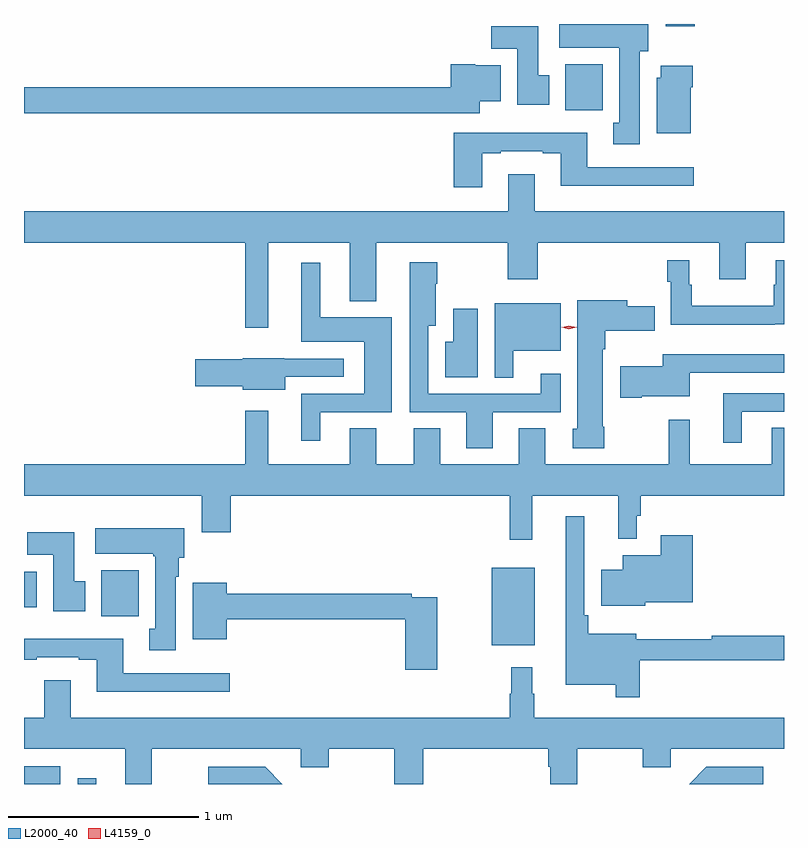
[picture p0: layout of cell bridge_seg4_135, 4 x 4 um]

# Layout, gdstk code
import gdstk
lib = gdstk.Library(unit=1e-6, precision=1e-09)
def R(c, l, rs):  # rectangles x0, y0, x1, y1
    for r in rs: c.add(gdstk.rectangle(r[:2], r[2:], *l))
def P(c, l, *ps):  # polygons
    for p in ps: c.add(gdstk.Polygon(p, *l))
L2000_40 = (2000, 40)
L4159_0 = (4159, 0)

bridge_seg4_135 = lib.new_cell('bridge_seg4_135')
R(bridge_seg4_135, L2000_40, [(237.918,777.986,238.11,778.08), (238.201,777.986,238.297,778.015), (240.38,778.715,240.607,779.125), (238.325,778.868,238.522,779.11), (237.918,778.916,237.985,779.104), (240.767,781.532,240.964,781.774), (241.295,781.974,241.448,781.986)])
P(bridge_seg4_135, L2000_40, [(241.159,781.842),(241.204,781.842),(241.204,781.986),(240.735,781.986),(240.735,781.862),(241.052,781.862),(241.052,781.466),(241.019,781.466),(241.019,781.353),(241.159,781.353)],
  [(240.682,781.716),(240.625,781.716),(240.625,781.975),(240.376,781.975),(240.376,781.856),(240.515,781.856),(240.515,781.56),(240.682,781.56)],
  [(240.316,781.58),(240.427,781.58),(240.427,781.768),(240.294,781.768),(240.294,781.774),(240.164,781.774),(240.164,781.652),(237.918,781.652),(237.918,781.516),(240.316,781.516)],
  [(241.426,781.652),(241.439,781.652),(241.439,781.765),(241.268,781.765),(241.268,781.704),(241.247,781.704),(241.247,781.412),(241.426,781.412)],
  [(240.331,781.305),(240.427,781.305),(240.427,781.317),(240.647,781.317),(240.647,781.305),(240.743,781.305),(240.743,781.136),(241.444,781.136),(241.444,781.233),(240.883,781.233),(240.883,781.414),(240.179,781.414),(240.179,781.128),(240.331,781.128)],
  [(239.203,780.836),(239.633,780.836),(239.633,780.527),(239.773,780.527),(239.773,780.836),(240.463,780.836),(240.463,780.642),(240.623,780.642),(240.623,780.836),(241.577,780.836),(241.577,780.642),(241.717,780.642),(241.717,780.836),(241.918,780.836),(241.918,781),(240.607,781),(240.607,781.195),(240.467,781.195),(240.467,781),(237.918,781),(237.918,780.836),(239.082,780.836),(239.082,780.387),(239.203,780.387)],
  [(241.868,780.405),(241.918,780.405),(241.918,780.742),(241.874,780.742),(241.874,780.614),(241.863,780.614),(241.863,780.502),(241.432,780.502),(241.432,780.614),(241.42,780.614),(241.42,780.742),(241.303,780.742),(241.303,780.629),(241.323,780.629),(241.323,780.404),(241.868,780.404)],
  [(240.385,779.943),(240.742,779.943),(240.742,780.145),(240.638,780.145),(240.638,780.039),(240.045,780.039),(240.045,780.398),(240.085,780.398),(240.085,780.62),(240.093,780.62),(240.093,780.733),(239.948,780.733),(239.948,780.502),(239.949,780.502),(239.949,779.943),(240.245,779.943),(240.245,779.754),(240.385,779.754)],
  [(239.476,779.943),(239.854,779.943),(239.854,780.442),(239.476,780.442),(239.476,780.73),(239.378,780.73),(239.378,780.314),(239.708,780.314),(239.708,780.039),(239.378,780.039),(239.378,779.793),(239.476,779.793)],
  [(240.972,779.866),(240.964,779.866),(240.964,780.275),(240.977,780.275),(240.977,780.371),(241.237,780.371),(241.237,780.501),(241.093,780.501),(241.093,780.531),(240.83,780.531),(240.83,779.856),(240.806,779.856),(240.806,779.754),(240.972,779.754)],
  [(240.493,780.266),(240.742,780.266),(240.742,780.517),(240.396,780.517),(240.396,780.124),(240.493,780.124)],
  [(240.307,780.487),(240.176,780.487),(240.176,780.313),(240.134,780.313),(240.134,780.128),(240.307,780.128)],
  [(241.168,780.026),(241.423,780.026),(241.423,780.15),(241.918,780.15),(241.918,780.247),(241.28,780.247),(241.28,780.184),(241.056,780.184),(241.056,780.019),(241.168,780.019)],
  [(239.293,780.129),(239.602,780.129),(239.602,780.225),(239.289,780.225),(239.289,780.226),(239.07,780.226),(239.07,780.221),(238.818,780.221),(238.818,780.079),(239.07,780.079),(239.07,780.062),(239.293,780.062)],
  [(241.696,779.946),(241.918,779.946),(241.918,780.042),(241.598,780.042),(241.598,779.781),(241.696,779.781)],
  [(240.593,779.504),(241.046,779.504),(241.046,779.276),(241.143,779.276),(241.143,779.397),(241.163,779.397),(241.163,779.504),(241.918,779.504),(241.918,779.861),(241.853,779.861),(241.853,779.668),(241.421,779.668),(241.421,779.902),(241.311,779.902),(241.311,779.668),(240.661,779.668),(240.661,779.858),(240.521,779.858),(240.521,779.668),(240.109,779.668),(240.109,779.858),(239.969,779.858),(239.969,779.668),(239.773,779.668),(239.773,779.858),(239.633,779.858),(239.633,779.668),(239.203,779.668),(239.203,779.95),(239.082,779.95),(239.082,779.668),(237.918,779.668),(237.918,779.504),(238.853,779.504),(238.853,779.31),(239.006,779.31),(239.006,779.504),(240.475,779.504),(240.475,779.271),(240.593,779.271)],
  [(241.16,778.638),(241.918,778.638),(241.918,778.766),(241.537,778.766),(241.537,778.748),(241.141,778.748),(241.141,778.777),(240.887,778.777),(240.887,778.873),(240.867,778.873),(240.867,779.395),(240.77,779.395),(240.77,778.508),(241.032,778.508),(241.032,778.443),(241.16,778.443)],
  [(238.717,779.078),(238.732,779.078),(238.732,779.178),(238.762,779.178),(238.762,779.332),(238.293,779.332),(238.293,779.198),(238.597,779.198),(238.597,779.185),(238.61,779.185),(238.61,778.802),(238.577,778.802),(238.577,778.689),(238.717,778.689)],
  [(238.24,779.052),(238.183,779.052),(238.183,779.311),(237.934,779.311),(237.934,779.192),(238.073,779.192),(238.073,778.896),(238.24,778.896)],
  [(241.188,778.943),(241.439,778.943),(241.439,779.296),(241.268,779.296),(241.268,779.191),(241.07,779.191),(241.07,779.113),(240.956,779.113),(240.956,778.925),(241.188,778.925)],
  [(240.094,778.968),(239.96,778.968),(239.96,778.988),(238.984,778.988),(238.984,779.044),(238.805,779.044),(238.805,778.748),(238.984,778.748),(238.984,778.852),(239.924,778.852),(239.924,778.587),(240.094,778.587)],
  [(239.002,778.569),(238.441,778.569),(238.441,778.75),(237.918,778.75),(237.918,778.641),(237.985,778.641),(237.985,778.653),(238.205,778.653),(238.205,778.641),(238.301,778.641),(238.301,778.472),(239.002,778.472)],
  [(238.591,778.172),(239.375,778.172),(239.375,778.073),(239.523,778.073),(239.523,778.172),(239.867,778.172),(239.867,777.986),(240.02,777.986),(240.02,778.172),(240.677,778.172),(240.677,778.076),(240.689,778.076),(240.689,777.986),(240.829,777.986),(240.829,778.172),(241.174,778.172),(241.174,778.073),(241.321,778.073),(241.321,778.172),(241.918,778.172),(241.918,778.336),(240.604,778.336),(240.604,778.46),(240.592,778.46),(240.592,778.6),(240.483,778.6),(240.483,778.46),(240.475,778.46),(240.475,778.336),(238.165,778.336),(238.165,778.531),(238.025,778.531),(238.025,778.336),(237.918,778.336),(237.918,778.172),(238.451,778.172),(238.451,777.986),(238.591,777.986)],
  [(239.187,778.077),(238.887,778.077),(238.887,777.986),(239.278,777.986)],
  [(241.81,778.077),(241.509,778.077),(241.419,777.986),(241.81,777.986)])
P(bridge_seg4_135, L4159_0, [(240.786,780.379),(240.747,780.389),(240.747,780.389),(240.747,780.389),(240.786,780.399),(240.826,780.389),(240.826,780.389),(240.826,780.389)])

lib.write_gds('bridge_seg4_135.gds')
